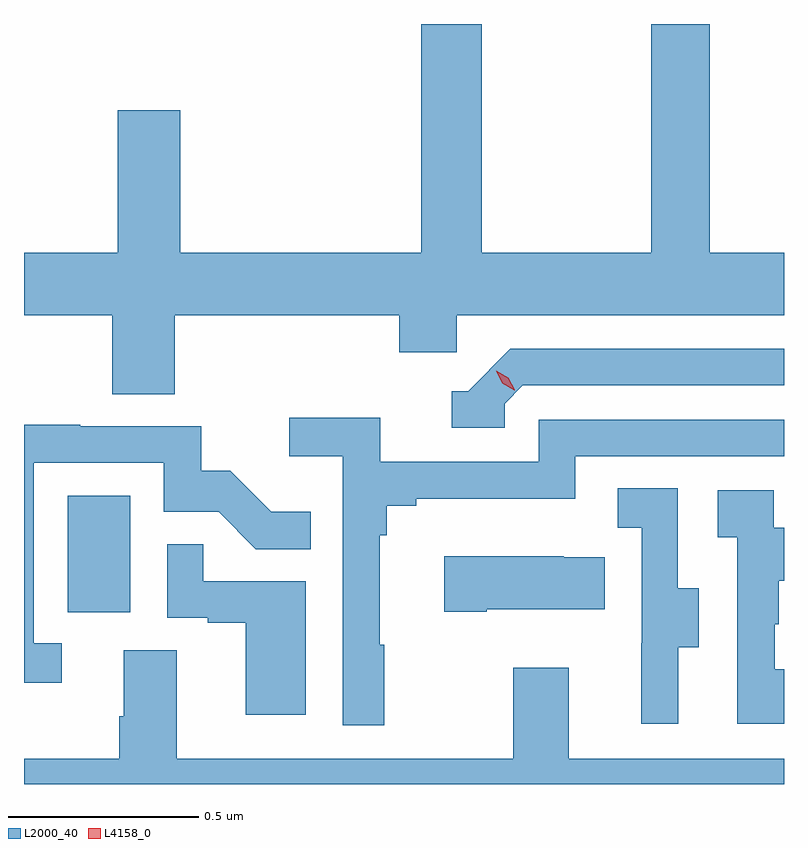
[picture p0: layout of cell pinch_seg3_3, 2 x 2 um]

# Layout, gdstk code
import gdstk
lib = gdstk.Library(unit=1e-6, precision=1e-09)
def R(c, l, rs):  # rectangles x0, y0, x1, y1
    for r in rs: c.add(gdstk.rectangle(r[:2], r[2:], *l))
def P(c, l, *ps):  # polygons
    for p in ps: c.add(gdstk.Polygon(p, *l))
L2000_40 = (2000, 40)
L4158_0 = (4158, 0)

pinch_seg3_3 = lib.new_cell('pinch_seg3_3')
R(pinch_seg3_3, L2000_40, [(1141.898,742.758,1142.062,743.065)])
P(pinch_seg3_3, L2000_40, [(1142.18,743.54),(1142.771,743.54),(1142.771,743.442),(1142.922,743.442),(1142.922,743.54),(1143.783,743.54),(1143.783,743.704),(1143.588,743.704),(1143.588,744.306),(1143.433,744.306),(1143.433,743.704),(1142.988,743.704),(1142.988,744.306),(1142.828,744.306),(1142.828,743.704),(1142.194,743.704),(1142.194,744.079),(1142.03,744.079),(1142.03,743.704),(1141.783,743.704),(1141.783,743.54),(1142.015,743.54),(1142.015,743.332),(1142.18,743.332)],
  [(1143.048,743.307),(1143.096,743.355),(1143.783,743.355),(1143.783,743.451),(1143.063,743.451),(1142.952,743.34),(1142.909,743.34),(1142.909,743.244),(1143.048,743.244)],
  [(1142.731,742.673),(1142.719,742.673),(1142.719,742.961),(1142.738,742.961),(1142.738,743.038),(1142.815,743.038),(1142.815,743.057),(1143.234,743.057),(1143.234,743.169),(1143.783,743.169),(1143.783,743.265),(1143.138,743.265),(1143.138,743.154),(1142.72,743.154),(1142.72,743.27),(1142.481,743.27),(1142.481,743.168),(1142.622,743.168),(1142.622,742.461),(1142.731,742.461)],
  [(1141.882,742.677),(1141.809,742.677),(1141.809,743.151),(1142.151,743.151),(1142.151,743.022),(1142.295,743.022),(1142.393,742.924),(1142.537,742.924),(1142.537,743.023),(1142.433,743.023),(1142.326,743.13),(1142.25,743.13),(1142.25,743.247),(1141.931,743.247),(1141.931,743.252),(1141.783,743.252),(1141.783,742.572),(1141.882,742.572)],
  [(1143.505,742.666),(1143.559,742.666),(1143.559,742.821),(1143.504,742.821),(1143.504,743.084),(1143.345,743.084),(1143.345,742.981),(1143.408,742.981),(1143.408,742.677),(1143.407,742.677),(1143.407,742.464),(1143.505,742.464)],
  [(1143.783,742.608),(1143.759,742.608),(1143.759,742.727),(1143.769,742.727),(1143.769,742.841),(1143.783,742.841),(1143.783,742.981),(1143.756,742.981),(1143.756,743.079),(1143.609,743.079),(1143.609,742.955),(1143.66,742.955),(1143.66,742.464),(1143.783,742.464)],
  [(1142.524,742.839),(1142.255,742.839),(1142.255,742.937),(1142.16,742.937),(1142.16,742.743),(1142.267,742.743),(1142.267,742.731),(1142.366,742.731),(1142.366,742.488),(1142.524,742.488)],
  [(1143.001,742.766),(1143.311,742.766),(1143.311,742.903),(1143.203,742.903),(1143.203,742.906),(1142.889,742.906),(1142.889,742.759),(1143.001,742.759)],
  [(1143.783,742.372),(1143.217,742.372),(1143.217,742.612),(1143.07,742.612),(1143.07,742.372),(1142.185,742.372),(1142.185,742.658),(1142.045,742.658),(1142.045,742.484),(1142.033,742.484),(1142.033,742.372),(1141.783,742.372),(1141.783,742.306),(1143.783,742.306)])
P(pinch_seg3_3, L4158_0, [(1143.073,743.342),(1143.042,743.361),(1143.026,743.394),(1143.026,743.394),(1143.026,743.394),(1143.057,743.375),(1143.074,743.343),(1143.074,743.342)])

lib.write_gds('pinch_seg3_3.gds')
